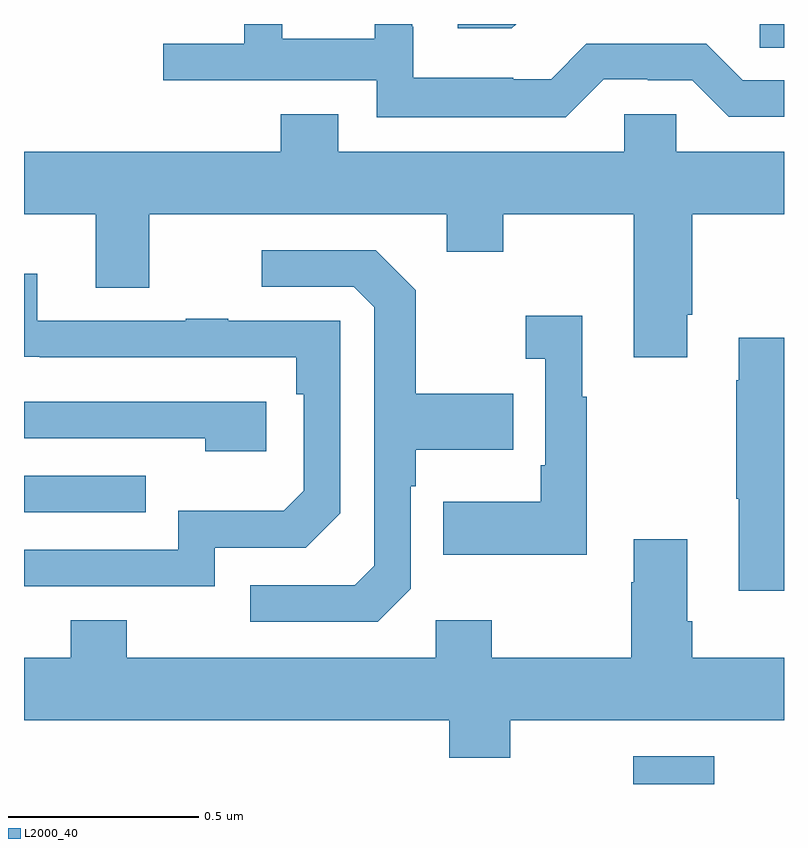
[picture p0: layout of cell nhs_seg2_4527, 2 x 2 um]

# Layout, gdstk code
import gdstk
lib = gdstk.Library(unit=1e-6, precision=1e-09)
def R(c, l, rs):  # rectangles x0, y0, x1, y1
    for r in rs: c.add(gdstk.rectangle(r[:2], r[2:], *l))
def P(c, l, *ps):  # polygons
    for p in ps: c.add(gdstk.Polygon(p, *l))
L2000_40 = (2000, 40)

nhs_seg2_4527 = lib.new_cell('nhs_seg2_4527')
R(nhs_seg2_4527, L2000_40, [(168.603,648.8,168.817,648.873), (167,649.515,167.321,649.611), (168.936,650.737,169,650.8)])
P(nhs_seg2_4527, L2000_40, [(168.525,650.655),(168.641,650.655),(168.641,650.652),(168.759,650.652),(168.855,650.556),(169,650.556),(169,650.652),(168.891,650.652),(168.795,650.748),(168.48,650.748),(168.387,650.655),(168.287,650.655),(168.287,650.659),(168.024,650.659),(168.024,650.793),(168.022,650.793),(168.022,650.8),(167.923,650.8),(167.923,650.761),(167.679,650.761),(167.679,650.8),(167.58,650.8),(167.58,650.748),(167.367,650.748),(167.367,650.652),(167.928,650.652),(167.928,650.555),(168.425,650.555)],
  [(168.295,650.8),(168.141,650.8),(168.141,650.789),(168.284,650.789)],
  [(168.717,650.562),(168.579,650.562),(168.579,650.464),(167.827,650.464),(167.827,650.563),(167.675,650.563),(167.675,650.464),(167,650.464),(167,650.3),(167.189,650.3),(167.189,650.106),(167.329,650.106),(167.329,650.3),(168.113,650.3),(168.113,650.201),(168.261,650.201),(168.261,650.3),(168.605,650.3),(168.605,649.923),(168.745,649.923),(168.745,650.035),(168.758,650.035),(168.758,650.3),(169,650.3),(169,650.464),(168.717,650.464)],
  [(168.018,649.314),(168.018,649.583),(168.031,649.583),(168.031,649.679),(168.287,649.679),(168.287,649.827),(168.031,649.827),(168.031,650.099),(167.925,650.205),(167.625,650.205),(167.625,650.109),(167.868,650.109),(167.922,650.055),(167.922,649.374),(167.871,649.323),(167.595,649.323),(167.595,649.227),(167.931,649.227)],
  [(167.502,649.422),(167.742,649.422),(167.832,649.512),(167.832,650.019),(167.537,650.019),(167.537,650.024),(167.425,650.024),(167.425,650.019),(167.035,650.019),(167.035,650.143),(167,650.143),(167,649.924),(167.041,649.924),(167.041,649.923),(167.716,649.923),(167.716,649.826),(167.736,649.826),(167.736,649.572),(167.683,649.519),(167.406,649.519),(167.406,649.416),(167,649.416),(167,649.32),(167.502,649.32)],
  [(168.481,649.819),(168.469,649.819),(168.469,650.032),(168.321,650.032),(168.321,649.919),(168.372,649.919),(168.372,649.639),(168.36,649.639),(168.36,649.543),(168.103,649.543),(168.103,649.403),(168.481,649.403)],
  [(169,649.975),(168.881,649.975),(168.881,649.862),(168.874,649.862),(168.874,649.551),(168.881,649.551),(168.881,649.308),(169,649.308)],
  [(167.638,649.806),(167,649.806),(167,649.71),(167.477,649.71),(167.477,649.676),(167.638,649.676)],
  [(168.279,648.968),(169,648.968),(169,649.132),(168.758,649.132),(168.758,649.228),(168.745,649.228),(168.745,649.444),(168.605,649.444),(168.605,649.331),(168.598,649.331),(168.598,649.132),(168.231,649.132),(168.231,649.231),(168.084,649.231),(168.084,649.132),(167.271,649.132),(167.271,649.231),(167.123,649.231),(167.123,649.132),(167,649.132),(167,648.968),(168.119,648.968),(168.119,648.869),(168.279,648.869)])

lib.write_gds('nhs_seg2_4527.gds')
